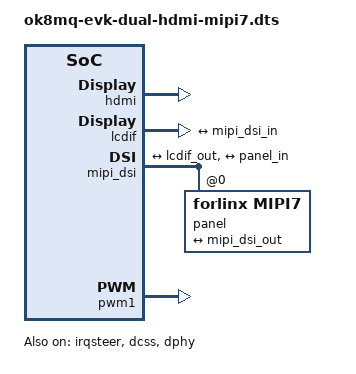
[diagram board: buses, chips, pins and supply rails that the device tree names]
// SPDX-License-Identifier: GPL-2.0
/*
 * Copyright 2019 NXP.
 */

#include "ok8mq-evk.dts"

/ {
        sound-hdmi {
                status = "okay";
        };
};

&hdmi {
	status = "okay";
};

&irqsteer {
	status = "okay";
};


&dcss {
	status = "okay";
};

&lcdif {
        status = "okay";
        max-memory-bandwidth = <314676293>; /* 1280x1024-32@60 */

        assigned-clocks = <&clk IMX8MQ_CLK_LCDIF_PIXEL>,
                          <&clk IMX8MQ_VIDEO_PLL1_BYPASS>,
                          <&clk IMX8MQ_VIDEO_PLL1_REF_SEL>,
                          <&clk IMX8MQ_VIDEO_PLL1>;
        assigned-clock-parents = <&clk IMX8MQ_VIDEO_PLL1_OUT>,
                                 <&clk IMX8MQ_VIDEO_PLL1>,
                                 <&clk IMX8MQ_CLK_27M>;
        assigned-clock-rate = <126000000>, <0>, <0>, <1134000000>;

        port@0 {
                lcdif_out: endpoint {
                        remote-endpoint = <&mipi_dsi_in>;
                };
        };
};

&mipi_dsi {
	status = "okay";

	panel@0 {
		compatible = "forlinx,mipi7";
		reg = <0>;
		port {
			panel_in: endpoint {
				remote-endpoint = <&mipi_dsi_out>;
			};
		};
	};

	ports {
		#address-cells = <1>;
		#size-cells = <0>;

		port@0 {
			reg = <0>;
			mipi_dsi_in: endpoint {
				remote-endpoint = <&lcdif_out>;
			};
		};

		port@1 {
			reg = <1>;
			mipi_dsi_out: endpoint {
				remote-endpoint = <&panel_in>;
			};
		};
	};
};

&dphy {
	status = "okay";
};


&pwm1 {
	status = "okay";
};
